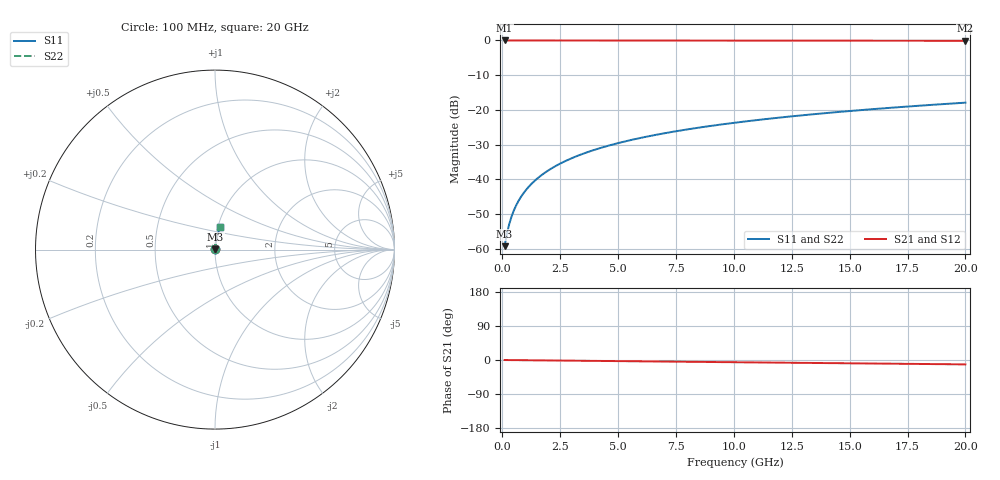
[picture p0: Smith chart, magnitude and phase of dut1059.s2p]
! Touchstone file exported from HFSS 2026.1.0
!  File:  C:/ffzhzh/LocalFiles/Ansys_Project_Files/temp_train_TMRDL_1059_1783160523_18472.aedt
!  Generated:  06:23:16 PM Jul  4, 2026
!  Design:  TMRDL
!  Project:  temp_train_TMRDL_1059_1783160523_18472
! Variables:
!  h_bsmrdl = 2um
!  h_ox = 20um
!  h_rdl = 5um
!  h_sub = 80um
!  h_tmrdl = 5.56um
!  h_tsv = 80um
!  h_via = 3um
!  l_bsmrdl = 300um
!  l_sub = 537.88um
!  l_tmrdl = 137.88um
!  m_sub = 200um
!  pitch = 36.88um
!  r_tsv = 6um
!  s_tmrdl = 10um
!  w_bsmrdl = 18um
!  w_sub = 500um
!  w_tmrdl = 12.02um
!  x_tsv_center1 = 143.89um
!  x_tsv_center2 = 461.89um
!  x_tsv_center3 = 611.79um
!  x_tsv_center4 = 929.79um
!  x_tsv_center5 = 1079.69um
!  x_tsv_center6 = 1397.69um
# GHz S MA R 50.000000
! Terminal data exported
! Port[1] = TM_RDL1_1_T1
! Port[2] = TM_RDL1_1_T2
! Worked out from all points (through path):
!   200 points, 100 MHz to 20 GHz, reference 50 ohm
!   highest |S21| = -0.01 dB at 100 MHz (marker M1); lowest = -0.1 dB at 20 GHz (marker M2)
!   group delay of S21, straight-line fit = 1.6 ps
!   lowest |S11| = -59.2 dB at 100 MHz (marker M3), VSWR 1.00, Z = 50.1 + j0.071 ohm
!   |S11| at or under -10 dB: start of sweep to end of sweep
!   |S22| runs from -59.2 to -17.9 dB; largest |S21 - S12| = 2.1e-15
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0.1  0.001093 40.4  0.9992 -0.1  0.9992 -0.1  0.001093 40.4
! Gamma 0 0 0 0
! Port Impedance 50 0 50 0
0.2  0.001648 58.8  0.9991 -0.1  0.9991 -0.1  0.001648 58.8
0.3  0.002277 67.2  0.9991 -0.2  0.9991 -0.2  0.002277 67.2
0.4  0.002925 71.8  0.9991 -0.2  0.9991 -0.2  0.002925 71.8
0.5  0.003579 74.7  0.9991 -0.3  0.9991 -0.3  0.003579 74.7
0.6  0.004236 76.8  0.999 -0.4  0.999 -0.4  0.004236 76.8
0.8  0.005557 79.4  0.999 -0.5  0.999 -0.5  0.005557 79.4
1.1  0.00755 81.6  0.9989 -0.7  0.9989 -0.7  0.00755 81.6
1.5  0.01022 83.1  0.9989 -0.9  0.9989 -0.9  0.01022 83.1
1.8  0.01222 83.7  0.9988 -1.1  0.9988 -1.1  0.01222 83.7
2.1  0.01422 84.0  0.9987 -1.3  0.9987 -1.3  0.01422 84.0
2.7  0.0182 84.3  0.9985 -1.6  0.9985 -1.6  0.0182 84.3
3.5  0.02348 84.4  0.9983 -2.1  0.9983 -2.1  0.02348 84.4
4.2  0.02807 84.2  0.998 -2.5  0.998 -2.5  0.02807 84.2
5  0.03327 83.9  0.9976 -3.0  0.9976 -3.0  0.03327 83.9
5.9  0.03908 83.6  0.9972 -3.5  0.9972 -3.5  0.03908 83.6
6.8  0.04485 83.2  0.9968 -4.0  0.9968 -4.0  0.04485 83.2
8.3  0.05439 82.5  0.9961 -4.9  0.9961 -4.9  0.05439 82.5
10.1  0.06577 81.7  0.9951 -5.9  0.9951 -5.9  0.06577 81.7
13.4  0.08645 80.1  0.9931 -7.8  0.9931 -7.8  0.08645 80.1
16.7  0.1069 78.4  0.9907 -9.7  0.9907 -9.7  0.1069 78.4
20  0.1271 76.7  0.988 -11.6  0.988 -11.6  0.1271 76.7
